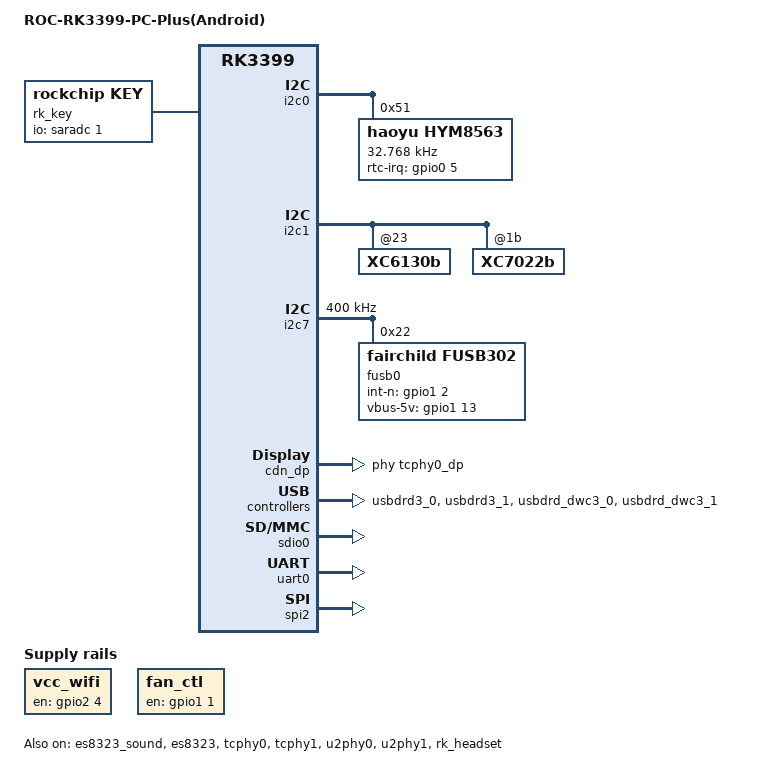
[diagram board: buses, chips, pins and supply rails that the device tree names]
/*
 * Copyright (c) 2016 Fuzhou Rockchip Electronics Co., Ltd
 *
 * This file is dual-licensed: you can use it either under the terms
 * of the GPL or the X11 license, at your option. Note that this dual
 * licensing only applies to this file, and not this project as a
 * whole.
 *
 *  a) This file is free software; you can redistribute it and/or
 *     modify it under the terms of the GNU General Public License as
 *     published by the Free Software Foundation; either version 2 of the
 *     License, or (at your option) any later version.
 *
 *     This file is distributed in the hope that it will be useful,
 *     but WITHOUT ANY WARRANTY; without even the implied warranty of
 *     MERCHANTABILITY or FITNESS FOR A PARTICULAR PURPOSE.  See the
 *     GNU General Public License for more details.
 *
 * Or, alternatively,
 *
 *  b) Permission is hereby granted, free of charge, to any person
 *     obtaining a copy of this software and associated documentation
 *     files (the "Software"), to deal in the Software without
 *     restriction, including without limitation the rights to use,
 *     copy, modify, merge, publish, distribute, sublicense, and/or
 *     sell copies of the Software, and to permit persons to whom the
 *     Software is furnished to do so, subject to the following
 *     conditions:
 *
 *     The above copyright notice and this permission notice shall be
 *     included in all copies or substantial portions of the Software.
 *
 *     THE SOFTWARE IS PROVIDED "AS IS", WITHOUT WARRANTY OF ANY KIND,
 *     EXPRESS OR IMPLIED, INCLUDING BUT NOT LIMITED TO THE WARRANTIES
 *     OF MERCHANTABILITY, FITNESS FOR A PARTICULAR PURPOSE AND
 *     NONINFRINGEMENT. IN NO EVENT SHALL THE AUTHORS OR COPYRIGHT
 *     HOLDERS BE LIABLE FOR ANY CLAIM, DAMAGES OR OTHER LIABILITY,
 *     WHETHER IN AN ACTION OF CONTRACT, TORT OR OTHERWISE, ARISING
 *     FROM, OUT OF OR IN CONNECTION WITH THE SOFTWARE OR THE USE OR
 *     OTHER DEALINGS IN THE SOFTWARE.
 */

/dts-v1/;

#include "rk3399-roc-pc-base.dtsi"

/ {
    model = "ROC-RK3399-PC-Plus(Android)";
    vcc_wifi: vcc-wifi-regulator {
        compatible = "regulator-fixed";
        enable-active-high;
        gpio = <&gpio2 4 GPIO_ACTIVE_HIGH>;
        pinctrl-names = "default";
        pinctrl-0 = <&wifi_vcc_3v3>;
        regulator-name = "vcc_wifi";
        regulator-always-on;
    };

    wireless-wlan {
        compatible = "wlan-platdata";
        rockchip,grf = <&grf>;
        wifi_chip_type = "rtl8723du";
        status = "okay";
    };

	/delete-node/ wireless-bluetooth;

    fan_ctl: fan-ctl-regulator {
        compatible = "regulator-fixed";
        enable-active-high;
        regulator-always-on;
        regulator-boot-on;
        gpio = <&gpio1 1 GPIO_ACTIVE_HIGH>;
        pinctrl-names = "default";
        regulator-name = "fan_ctl";
        pinctrl-0 = <&fan_drv>;
    };
    
	rk_key: rockchip-key {
		compatible = "rockchip,key";
		status = "okay";
		io-channels = <&saradc 1>;
		power-key {
			gpios = <&gpio0 5 1>;
			linux,code = <116>;
			label = "power";
			gpio-key,wakeup;
		};
		recovery-key {
			linux,code = <113>;
			label = "F12";
			rockchip,adc_value = <4>;
		};
	};
};

&firefly_leds {
   power_led: power {
	   label = "firefly:blue:power";
	   linux,default-trigger = "ir-power-click";
	   default-state = "on";
	   gpios = <&gpio2 27 GPIO_ACTIVE_HIGH>;
	   pinctrl-names = "default";
	   pinctrl-0 = <&led_power>;
   };
   user_led: user {
	   label = "firefly:yellow:user";
	   linux,default-trigger = "ir-user-click";
	   default-state = "off";
	   gpios = <&gpio0 13 GPIO_ACTIVE_HIGH>;
	   pinctrl-names = "default";
	   pinctrl-0 = <&led_user>;
   };
};

&i2c0 {
    hym8563: hym8563@51 {
        compatible = "haoyu,hym8563";
        reg = <0x51>;
        #clock-cells = <0>;
        rtc-irq-gpio = <&gpio0 5 IRQ_TYPE_EDGE_FALLING>;
        clock-frequency = <32768>;
        clock-output-names = "xin32k";
        /* rtc_int is not connected */
    };
};
&i2c1{
	
    XC6130b@23{
    status = "okay";
    };
    XC7022b@1b{
    status = "okay";
    };

    /delete-node/ ov13850b@10;
    /delete-node/ ov13850f@10;

};
&i2c4 {
	/delete-node/ fusb30x@22;
};

&i2c7 {
	status = "okay";
	i2c-scl-rising-time-ns = <200>;
	i2c-scl-falling-time-ns = <200>;
	clock-frequency = <400000>;

	fusb0: fusb30x@22 {
		compatible = "fairchild,fusb302";
		reg = <0x22>;
		pinctrl-names = "default";
		pinctrl-0 = <&fusb0_int>;
		int-n-gpios = <&gpio1 2 GPIO_ACTIVE_HIGH>;
        vbus-5v-gpios = <&gpio1 13 GPIO_ACTIVE_HIGH>;
		status = "okay";
	};
};

&es8323_sound {
    status = "okay";
};
&es8323 {
    status = "okay";
    reg = <0x11>;
    //hp-det-gpio = <&gpio2 6 GPIO_ACTIVE_HIGH>;
    hp-ctl-gpio = <&gpio0 2 GPIO_ACTIVE_HIGH>;
    /delete-property/ spk-ctl-gpio;
};

&rk808 {
	pinctrl-0 = <&pmic_int_l>;
    rtc {
        status = "disabled";
    };
};

&rk_key {
	/delete-node/ power-key;
};
&gmac {
    tx_delay = <0x2E>;                                                                                                                                                                                         
    rx_delay = <0x23>;
};

/* typec usb otg */
&cdn_dp {
	status = "okay";
	extcon = <&fusb0>;
	phys = <&tcphy0_dp>;
};

&tcphy0 {
	extcon = <&fusb0>;
	status = "okay";
};

&tcphy1 {
	status = "okay";
};

&u2phy0 {
	status = "okay";
	extcon = <&fusb0>;
};

&u2phy1 {
	status = "okay";
};

&usbdrd3_0 {
	status = "okay";
};

&usbdrd3_1 {
	status = "okay";
};

&usbdrd_dwc3_0 {
	status = "okay";
	extcon = <&fusb0>;
};

&usbdrd_dwc3_1 {
	status = "okay";
};

&pinctrl {
	vcc_wifi{
		wifi_vcc_3v3: wifi-vcc-3v3 {
			rockchip,pins = <2 4 RK_FUNC_GPIO &pcfg_pull_none>;
		};
	};
	 fan-ctl {                                                                                                                                                                                                  
        fan_drv: fan-drv {
             rockchip,pins = <1 1 RK_FUNC_GPIO &pcfg_pull_none>;
        };
    };
};


&rk_headset {
	status = "okay";
	es8323_linein_switch;
};
// Double row GPIO port expansion
&sdio0{
	status = "okay";
};
&uart0{
	status = "okay";
};
&spi2{
	status = "okay";
};
&uart4{
	status = "disable";
};
&i2c1{
	status = "okay";
};
&spidev0{
    status = "okey";
};

